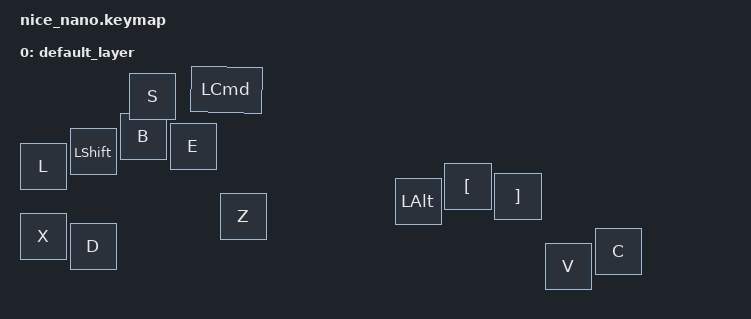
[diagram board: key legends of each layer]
/*
 * Copyright (c) 2021 Nick Winans
 *
 * SPDX-License-Identifier: MIT
 */

#include <behaviors.dtsi>
#include <dt-bindings/zmk/keys.h>
#include <dt-bindings/zmk/rgb.h>
#include <dt-bindings/zmk/bt.h>
#include <dt-bindings/zmk/matrix_transform.h>
#include <physical_layouts.dtsi>

/ {
    keymap {
        compatible = "zmk,keymap";

        default_layer {
// ---------------------------
// |  L  | SHIFT |  B  |  E  |
// |  Z  |  OPT  |  [  |  ]  |
// |  V  |   C   |  X  |  D  |
// |     |       |  S  | CMD |
// ---------------------------
// https://www.reddit.com/r/ProCreate/comments/1it19t6/procreate_keyboard_shortcuts/
            
            bindings = <
    &kp L  &kp LSHFT &kp B     &kp E
    &kp Z  &kp LALT  &kp LBKT  &kp RBKT
    &kp V  &kp C     &kp X     &kp D
                     &kp S     &kp LCMD
            >;
        };
    };

    chosen {
        zmk,kscan = &kscan0;
        zmk,physical-layout = &default_layout;
    };

    kscan0: kscan_0 {
        compatible = "zmk,kscan-gpio-matrix";
        diode-direction = "col2row";
        wakeup-source;
    };

    default_layout: default_layout {
        compatible = "zmk,physical-layout";
        display-name = "Default Layout";
        transform = <&default_transform>;

        keys  //                     w   h    x    y     rot    rx    ry
            = <&key_physical_attrs 100 100    0   60       0     50     50> // pinky bottom
            , <&key_physical_attrs 100 100  100   30       0     50     50> // ring bottom
            , <&key_physical_attrs 100 100  200    0       0     50     50> // middle bottom
            , <&key_physical_attrs 100 100  300   20       0     50     50> // index bottom

            , <&key_physical_attrs 100 100  400   160       0     0     50>
            , <&key_physical_attrs 100 100  750   130       0     50     50>
            , <&key_physical_attrs 100 100  850   100       0     50     50>
            , <&key_physical_attrs 100 100  950   120       0     50     50>

            , <&key_physical_attrs 100 100 1050   260       0     50     50>
            , <&key_physical_attrs 100 100 1150   230       0     50     50>
            , <&key_physical_attrs 100 100    0  200       0     50     50>
            , <&key_physical_attrs 100 100  100  220       0     50     50>

            , <&key_physical_attrs 100 100  220  (-80)       (-5)     50     50>
            , <&key_physical_attrs 150 100  340  (-100)       90     75     50>
            ;
    };

    default_transform: keymap_transform_0 {
        compatible = "zmk,matrix-transform";
        columns = <4>;
        rows = <4>;

        map = <
            RC(0,0)         RC(0,1)         RC(0,2)         RC(0,3)         
            RC(1,0)         RC(1,1)         RC(1,2)         RC(1,3)         
            RC(2,0)         RC(2,1)         RC(2,2)         RC(2,3)         
                                            RC(3,2)         RC(3,3)
        >;
    };

    &kscan0 {
    col-gpios
    = <&gpio0 3 (GPIO_ACTIVE_HIGH | GPIO_PULL_UP)>
    , <&gpio0 5 (GPIO_ACTIVE_HIGH | GPIO_PULL_UP)>
    , <&gpio0 6 (GPIO_ACTIVE_HIGH | GPIO_PULL_UP)>
    , <&gpio0 9 (GPIO_ACTIVE_HIGH | GPIO_PULL_UP)>
    ;

    row-gpios
    = <&gpio0 2 GPIO_ACTIVE_HIGH>
    , <&gpio0 4 GPIO_ACTIVE_HIGH>
    , <&gpio0 7 GPIO_ACTIVE_HIGH>
    , <&gpio0 8 GPIO_ACTIVE_HIGH>
    ;
    };

};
